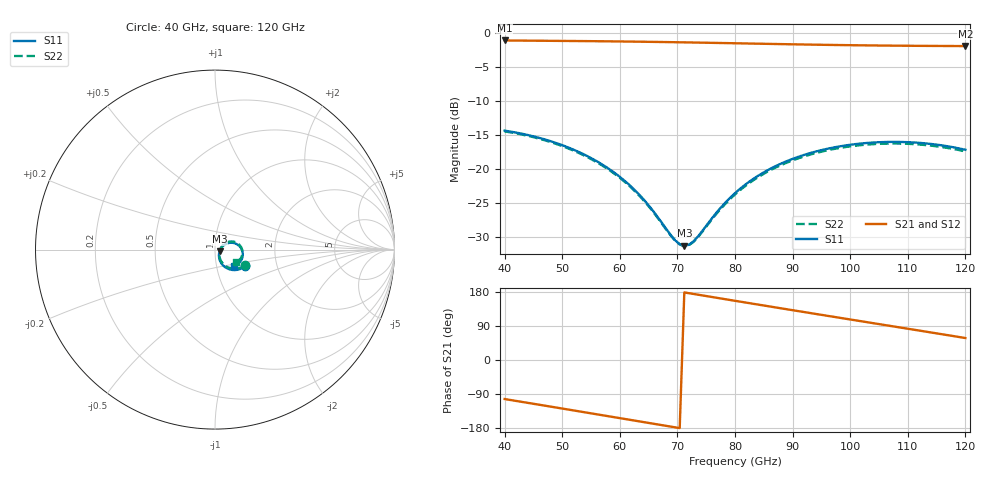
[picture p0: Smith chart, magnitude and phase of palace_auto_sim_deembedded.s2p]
! Created with skrf 1.11.0 (http://scikit-rf.org).
# GHz S DB R 50.0
!freq dBS11 angS11 dBS21 angS21 dBS12 angS12 dBS22 angS22
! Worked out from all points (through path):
!   101 points, 40 GHz to 120 GHz, reference 50 ohm
!   highest |S21| = -1.07 dB at 40 GHz (marker M1); lowest = -1.9 dB at 120 GHz (marker M2)
!   group delay of S21, straight-line fit = 6.92 ps
!   lowest |S11| = -31.3 dB at 71.2 GHz (marker M3), VSWR 1.06, Z = 52.6 - j0.976 ohm
!   |S11| at or under -10 dB: start of sweep to end of sweep
!   |S22| runs from -31.3 to -14.5 dB; largest |S21 - S12| = 1.4e-13
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40  -14.34 -28.5  -1.07 -103.0  -1.07 -103.0  -14.45 -26.3
46.4  -15.49 -41.9  -1.11 -119.0  -1.11 -119.0  -15.62 -39.3
53.6  -17.76 -55.7  -1.16 -137.2  -1.16 -137.2  -17.91 -52.5
57.6  -19.67 -61.9  -1.19 -147.3  -1.19 -147.3  -19.82 -58.4
60.8  -21.68 -65.2  -1.22 -155.4  -1.22 -155.4  -21.84 -61.4
64  -24.33 -65.3  -1.26 -163.5  -1.26 -163.5  -24.47 -61.1
67.2  -27.77 -57.4  -1.30 -171.6  -1.30 -171.6  -27.89 -53.0
69.6  -30.46 -39.4  -1.33 -177.7  -1.33 -177.7  -30.52 -35.0
71.2  -31.28 -19.8  -1.35 178.3  -1.35 178.3  -31.33 -15.6
72  -31.12 -9.5  -1.36 176.3  -1.36 176.3  -31.18 -5.4
72.8  -30.62 -0.1  -1.37 174.3  -1.37 174.3  -30.70 3.9
77.6  -25.59 25.7  -1.44 162.2  -1.44 162.2  -25.77 30.0
80  -23.53 27.4  -1.48 156.2  -1.48 156.2  -23.73 32.0
83.2  -21.42 25.7  -1.53 148.3  -1.53 148.3  -21.62 30.6
86.4  -19.83 21.9  -1.58 140.3  -1.58 140.3  -20.04 27.1
89.6  -18.62 17.1  -1.63 132.4  -1.63 132.4  -18.84 22.5
93.6  -17.51 10.2  -1.69 122.6  -1.69 122.6  -17.73 16.0
97.6  -16.74 2.8  -1.74 112.8  -1.74 112.8  -16.97 8.9
100.8  -16.33 -3.2  -1.77 105.0  -1.77 105.0  -16.56 3.1
107.2  -15.99 -15.6  -1.83 89.4  -1.83 89.4  -16.23 -8.8
113.6  -16.25 -28.0  -1.87 73.7  -1.87 73.7  -16.50 -20.7
120  -17.15 -39.9  -1.90 58.0  -1.90 58.0  -17.40 -32.1
